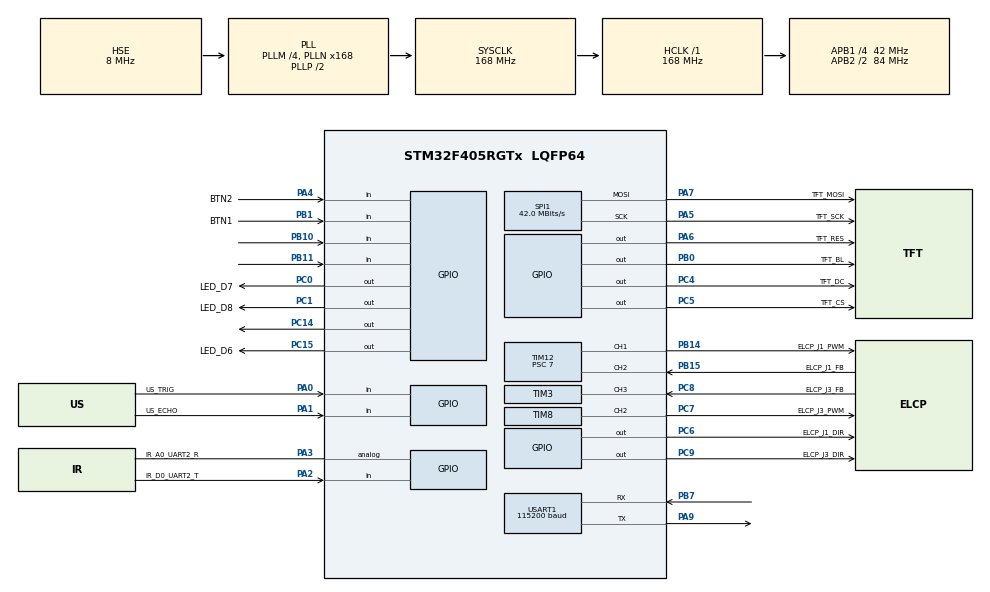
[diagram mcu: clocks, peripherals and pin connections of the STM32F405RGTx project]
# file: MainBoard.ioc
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Dma.Request0=SPI1_TX
Dma.SPI1_TX.0.Direction=DMA_MEMORY_TO_PERIPH
Dma.SPI1_TX.0.FIFOMode=DMA_FIFOMODE_ENABLE
Dma.SPI1_TX.0.FIFOThreshold=DMA_FIFO_THRESHOLD_FULL
Dma.SPI1_TX.0.Instance=DMA2_Stream3
Dma.SPI1_TX.0.MemBurst=DMA_MBURST_INC16
Dma.SPI1_TX.0.MemDataAlignment=DMA_MDATAALIGN_BYTE
Dma.SPI1_TX.0.MemInc=DMA_MINC_ENABLE
Dma.SPI1_TX.0.Mode=DMA_NORMAL
Dma.SPI1_TX.0.PeriphBurst=DMA_PBURST_SINGLE
Dma.SPI1_TX.0.PeriphDataAlignment=DMA_PDATAALIGN_BYTE
Dma.SPI1_TX.0.PeriphInc=DMA_PINC_DISABLE
Dma.SPI1_TX.0.Priority=DMA_PRIORITY_LOW
Mcu.Family=STM32F4
Mcu.Name=STM32F405RGTx
Mcu.Package=LQFP64
NVIC.DMA2_Stream3_IRQn=true\:0\:0\:false\:false\:true\:false\:true\:true
NVIC.PriorityGroup=NVIC_PRIORITYGROUP_4
NVIC.SPI1_IRQn=true\:0\:0\:false\:false\:true\:true\:true\:true
NVIC.TIM3_IRQn=true\:0\:0\:false\:false\:true\:true\:true\:true
NVIC.TIM8_BRK_TIM12_IRQn=true\:0\:0\:false\:false\:true\:true\:true\:true
NVIC.USART1_IRQn=true\:0\:0\:false\:false\:true\:true\:true\:true
PA0-WKUP.GPIO_Label=US_TRIG
PA0-WKUP.Signal=GPIO_Input
PA1.GPIO_Label=US_ECHO
PA1.Signal=GPIO_Input
PA13.Mode=Serial_Wire
PA13.Signal=SYS_JTMS-SWDIO
PA14.Mode=Serial_Wire
PA14.Signal=SYS_JTCK-SWCLK
PA2.GPIO_Label=IR_D0_UART2_T
PA2.Signal=GPIO_Input
PA3.GPIO_Label=IR_A0_UART2_R
PA3.Signal=GPIO_Analog
PA4.GPIO_Label=BTN2
PA4.GPIO_PuPd=GPIO_PULLUP
PA4.Signal=GPIO_Input
PA5.GPIO_Label=TFT_SCK
PA5.Mode=TX_Only_Simplex_Unidirect_Master
PA5.Signal=SPI1_SCK
PA6.GPIO_Label=TFT_RES
PA6.Signal=GPIO_Output
PA7.GPIO_Label=TFT_MOSI
PA7.Mode=TX_Only_Simplex_Unidirect_Master
PA7.Signal=SPI1_MOSI
PA9.Mode=Asynchronous
PA9.Signal=USART1_TX
PB0.GPIO_Label=TFT_BL
PB0.Signal=GPIO_Output
PB1.GPIO_Label=BTN1
PB1.GPIO_PuPd=GPIO_PULLUP
PB1.Signal=GPIO_Input
PB10.Signal=GPIO_Input
PB11.Signal=GPIO_Input
PB14.GPIO_Label=ELCP_J1_PWM
PB14.Signal=S_TIM12_CH1
PB15.GPIO_Label=ELCP_J1_FB
PB15.GPIO_PuPd=GPIO_PULLUP
PB15.Signal=S_TIM12_CH2
PB7.Mode=Asynchronous
PB7.Signal=USART1_RX
PC0.GPIO_Label=LED_D7
PC0.PinState=GPIO_PIN_SET
PC0.Signal=GPIO_Output
PC1.GPIO_Label=LED_D8
PC1.PinState=GPIO_PIN_SET
PC1.Signal=GPIO_Output
PC14-OSC32_IN.Signal=GPIO_Output
PC15-OSC32_OUT.GPIO_Label=LED_D6
PC15-OSC32_OUT.PinState=GPIO_PIN_SET
PC15-OSC32_OUT.Signal=GPIO_Output
PC4.GPIO_Label=TFT_DC
PC4.Signal=GPIO_Output
PC5.GPIO_Label=TFT_CS
PC5.Signal=GPIO_Output
PC6.GPIO_Label=ELCP_J1_DIR
PC6.GPIO_ModeDefaultOutputPP=GPIO_MODE_OUTPUT_OD
PC6.GPIO_PuPd=GPIO_NOPULL
PC6.Signal=GPIO_Output
PC7.GPIO_Label=ELCP_J3_PWM
PC7.Signal=S_TIM8_CH2
PC8.GPIO_Label=ELCP_J3_FB
PC8.GPIO_PuPd=GPIO_PULLUP
PC8.Signal=S_TIM3_CH3
PC9.GPIO_Label=ELCP_J3_DIR
PC9.GPIO_ModeDefaultOutputPP=GPIO_MODE_OUTPUT_OD
PC9.GPIO_PuPd=GPIO_NOPULL
PC9.Signal=GPIO_Output
PH0-OSC_IN.Mode=HSE-External-Oscillator
PH0-OSC_IN.Signal=RCC_OSC_IN
PH1-OSC_OUT.Mode=HSE-External-Oscillator
PH1-OSC_OUT.Signal=RCC_OSC_OUT
ProjectManager.HeapSize=0x200
ProjectManager.StackSize=0x400
ProjectManager.TargetToolchain=CMake
RCC.48MHZClocksFreq_Value=84000000
RCC.AHBFreq_Value=168000000
RCC.APB1CLKDivider=RCC_HCLK_DIV4
RCC.APB1Freq_Value=42000000
RCC.APB1TimFreq_Value=84000000
RCC.APB2CLKDivider=RCC_HCLK_DIV2
RCC.APB2Freq_Value=84000000
RCC.APB2TimFreq_Value=168000000
RCC.CortexFreq_Value=168000000
RCC.HCLKFreq_Value=168000000
RCC.HSE_VALUE=8000000
RCC.HSI_VALUE=16000000
RCC.LSE_VALUE=32768
RCC.PLLM=4
RCC.PLLN=168
RCC.PLLSourceVirtual=RCC_PLLSOURCE_HSE
RCC.SYSCLKFreq_VALUE=168000000
RCC.SYSCLKSource=RCC_SYSCLKSOURCE_PLLCLK
RCC.VCOOutputFreq_Value=336000000
SH.S_TIM12_CH1.0=TIM12_CH1,PWM Generation1 CH1
SH.S_TIM12_CH2.0=TIM12_CH2,Input_Capture2_from_TI2
SH.S_TIM3_CH3.0=TIM3_CH3,Input_Capture3_from_TI3
SH.S_TIM8_CH2.0=TIM8_CH2,PWM Generation2 CH2
SPI1.BaudRatePrescaler=SPI_BAUDRATEPRESCALER_2
SPI1.CalculateBaudRate=42.0 MBits/s
SPI1.Direction=SPI_DIRECTION_2LINES
SPI1.Mode=SPI_MODE_MASTER
SPI1.VirtualType=VM_MASTER
TIM12.AutoReloadPreload=TIM_AUTORELOAD_PRELOAD_ENABLE
TIM12.Channel-Input_Capture2_from_TI2=TIM_CHANNEL_2
TIM12.Channel-PWM\ Generation1\ CH1=TIM_CHANNEL_1
TIM12.ICFilter_CH2=10
TIM12.ICPolarity_CH2=TIM_INPUTCHANNELPOLARITY_RISING
TIM12.Period=1049
TIM12.Prescaler=7
TIM3.Channel-Input_Capture3_from_TI3=TIM_CHANNEL_3
TIM3.ICFilter_CH3=10
TIM3.ICPolarity_CH3=TIM_INPUTCHANNELPOLARITY_RISING
TIM8.AutoReloadPreload=TIM_AUTORELOAD_PRELOAD_ENABLE
TIM8.Channel-PWM\ Generation2\ CH2=TIM_CHANNEL_2
TIM8.OCPolarity_2=TIM_OCPOLARITY_HIGH
TIM8.Period=1049
TIM8.Prescaler=7
USART1.BaudRate=115200
USART1.VirtualMode=VM_ASYNC
VP_TIM8_VS_ClockSourceINT.Mode=Internal
board=custom

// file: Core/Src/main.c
/* USER CODE BEGIN Header */
/**
  ******************************************************************************
  * @file           : main.c
  * @brief          : Main program body
  ******************************************************************************
  * @attention
  *
  * Copyright (c) 2026 STMicroelectronics.
  * All rights reserved.
  *
  * This software is licensed under terms that can be found in the LICENSE file
  * in the root directory of this software component.
  * If no LICENSE file comes with this software, it is provided AS-IS.
  *
  ******************************************************************************
  */
/* USER CODE END Header */
#include "main.h"
#include "dma.h"
#include "spi.h"
#include "tim.h"
#include "usart.h"
#include "gpio.h"

/* USER CODE BEGIN Includes */
#include "lcd/lcd.h"
#include "lcd/lcd_graphics.h"
#include "robotics_logo.h"
#include "elcp_motor/elcp_motor.h"
/* USER CODE END Includes */

void SystemClock_Config(void);

int main(void)
{

  /* MCU Configuration--------------------------------------------------------*/

  /* Reset of all peripherals, Initializes the Flash interface and the Systick. */
  HAL_Init();

  /* Configure the system clock */
  SystemClock_Config();

  /* Initialize all configured peripherals */
  MX_GPIO_Init();
  MX_DMA_Init();
  MX_SPI1_Init();
  MX_USART1_UART_Init();
  MX_TIM8_Init();
  MX_TIM12_Init();
  MX_TIM3_Init();
  /* USER CODE BEGIN 2 */
  // Initialize and stop motors on startup
  ELCP_Motor_Init(MOTOR_J1);
  ELCP_Motor_Init(MOTOR_J3);
  ELCP_Motor_Stop(MOTOR_J1);
  ELCP_Motor_Stop(MOTOR_J3);

  tft_init(PIN_ON_TOP, BLACK, WHITE, CYAN, DARK_GREY);

  // Initial draw of title and Robotics logo on startup
  tft_prints(4, 0, "RDC 2026");
  tft_prints(4, 1, "Skeleton");
  tft_update(0);

  tft_print_image((void *)robotics_img, 0, 52, ROBOTICS_IMG_WIDTH, ROBOTICS_IMG_HEIGHT);

  /* USER CODE END 2 */

  /* Infinite loop */
  while (1)
  {

    /* USER CODE BEGIN 3 */
    // Display header title
    tft_prints(4, 0, "RDC 2026");
    tft_prints(4, 1, "Skeleton");
    tft_update(50);

    // Display Robotics logo
    tft_print_image((void *)robotics_img, 0, 52, ROBOTICS_IMG_WIDTH, ROBOTICS_IMG_HEIGHT);

    HAL_Delay(100);
  }
  /* USER CODE END 3 */
}

void SystemClock_Config(void)
{
  RCC_OscInitTypeDef RCC_OscInitStruct = {0};
  RCC_ClkInitTypeDef RCC_ClkInitStruct = {0};

  /** Configure the main internal regulator output voltage
  */
  __HAL_RCC_PWR_CLK_ENABLE();
  __HAL_PWR_VOLTAGESCALING_CONFIG(PWR_REGULATOR_VOLTAGE_SCALE1);

  /** Initializes the RCC Oscillators according to the specified parameters
  * in the RCC_OscInitTypeDef structure.
  */
  RCC_OscInitStruct.OscillatorType = RCC_OSCILLATORTYPE_HSE;
  RCC_OscInitStruct.HSEState = RCC_HSE_ON;
  RCC_OscInitStruct.PLL.PLLState = RCC_PLL_ON;
  RCC_OscInitStruct.PLL.PLLSource = RCC_PLLSOURCE_HSE;
  RCC_OscInitStruct.PLL.PLLM = 4;
  RCC_OscInitStruct.PLL.PLLN = 168;
  RCC_OscInitStruct.PLL.PLLP = RCC_PLLP_DIV2;
  RCC_OscInitStruct.PLL.PLLQ = 4;
  if (HAL_RCC_OscConfig(&RCC_OscInitStruct) != HAL_OK)
  {
    Error_Handler();
  }

  /** Initializes the CPU, AHB and APB buses clocks
  */
  RCC_ClkInitStruct.ClockType = RCC_CLOCKTYPE_HCLK|RCC_CLOCKTYPE_SYSCLK
                              |RCC_CLOCKTYPE_PCLK1|RCC_CLOCKTYPE_PCLK2;
  RCC_ClkInitStruct.SYSCLKSource = RCC_SYSCLKSOURCE_PLLCLK;
  RCC_ClkInitStruct.AHBCLKDivider = RCC_SYSCLK_DIV1;
  RCC_ClkInitStruct.APB1CLKDivider = RCC_HCLK_DIV4;
  RCC_ClkInitStruct.APB2CLKDivider = RCC_HCLK_DIV2;

  if (HAL_RCC_ClockConfig(&RCC_ClkInitStruct, FLASH_LATENCY_5) != HAL_OK)
  {
    Error_Handler();
  }
}

void Error_Handler(void)
{
  __disable_irq();
  while (1)
  {
  }
}
